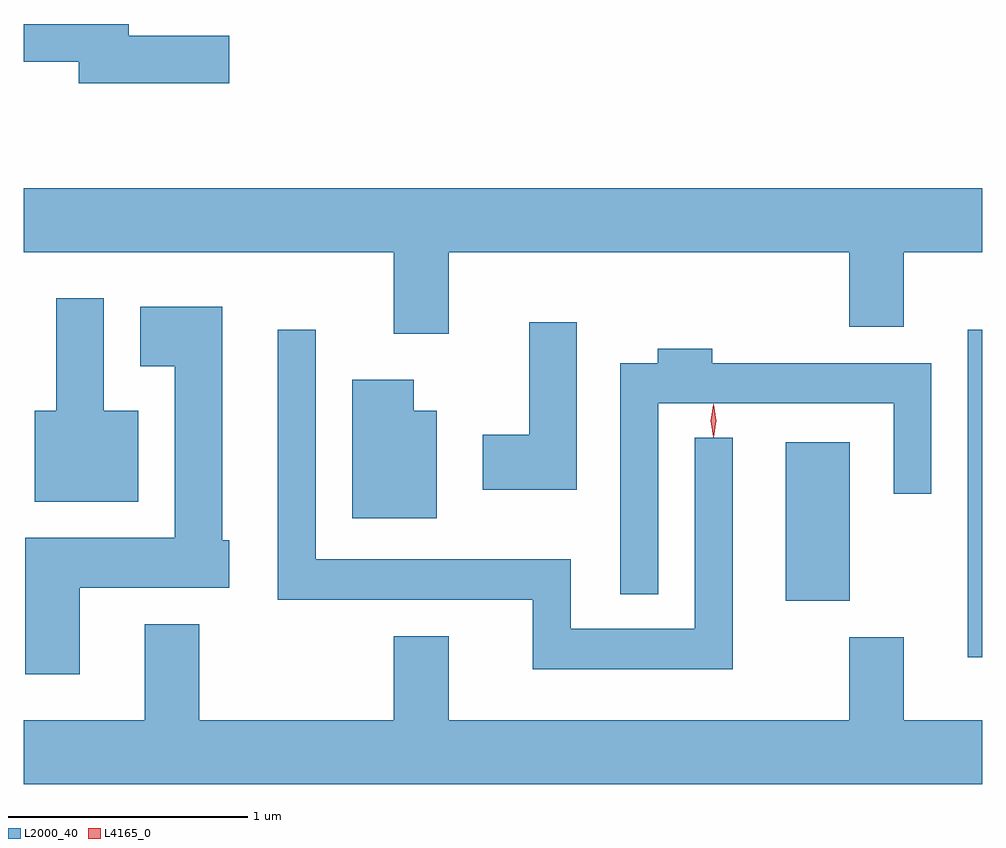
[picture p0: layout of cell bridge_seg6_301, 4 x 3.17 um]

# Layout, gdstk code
import gdstk
lib = gdstk.Library(unit=1e-6, precision=1e-09)
def R(c, l, rs):  # rectangles x0, y0, x1, y1
    for r in rs: c.add(gdstk.rectangle(r[:2], r[2:], *l))
def P(c, l, *ps):  # polygons
    for p in ps: c.add(gdstk.Polygon(p, *l))
L2000_40 = (2000, 40)
L4165_0 = (4165, 0)

bridge_seg6_301 = lib.new_cell('bridge_seg6_301')
R(bridge_seg6_301, L2000_40, [(1299.746,1532.806,1299.806,1534.173), (1298.986,1533.041,1299.254,1533.704)])
P(bridge_seg6_301, L2000_40, [(1296.664,1535.399),(1296.244,1535.399),(1296.244,1535.449),(1295.806,1535.449),(1295.806,1535.291),(1296.036,1535.291),(1296.036,1535.201),(1296.664,1535.201)],
  [(1297.579,1534.496),(1299.251,1534.496),(1299.251,1534.186),(1299.479,1534.186),(1299.479,1534.496),(1299.806,1534.496),(1299.806,1534.764),(1295.806,1534.764),(1295.806,1534.496),(1297.351,1534.496),(1297.351,1534.156),(1297.579,1534.156)],
  [(1296.284,1533.834),(1296.139,1533.834),(1296.139,1534.304),(1295.941,1534.304),(1295.941,1533.834),(1295.851,1533.834),(1295.851,1533.456),(1296.284,1533.456)],
  [(1296.039,1533.096),(1296.664,1533.096),(1296.664,1533.294),(1296.634,1533.294),(1296.634,1534.269),(1296.291,1534.269),(1296.291,1534.021),(1296.436,1534.021),(1296.436,1533.304),(1295.811,1533.304),(1295.811,1532.736),(1296.039,1532.736)],
  [(1298.114,1534.204),(1297.916,1534.204),(1297.916,1533.734),(1297.721,1533.734),(1297.721,1533.506),(1298.114,1533.506)],
  [(1298.764,1533.723),(1298.606,1533.723),(1298.606,1532.924),(1298.089,1532.924),(1298.089,1533.214),(1297.024,1533.214),(1297.024,1534.173),(1296.866,1534.173),(1296.866,1533.046),(1297.931,1533.046),(1297.931,1532.756),(1298.764,1532.756)],
  [(1298.454,1533.866),(1299.436,1533.866),(1299.436,1533.488),(1299.594,1533.488),(1299.594,1534.034),(1298.679,1534.034),(1298.679,1534.094),(1298.451,1534.094),(1298.451,1534.034),(1298.296,1534.034),(1298.296,1533.068),(1298.454,1533.068)],
  [(1297.529,1533.834),(1297.434,1533.834),(1297.434,1533.964),(1297.176,1533.964),(1297.176,1533.386),(1297.529,1533.386)],
  [(1299.806,1532.544),(1299.479,1532.544),(1299.479,1532.889),(1299.251,1532.889),(1299.251,1532.544),(1297.579,1532.544),(1297.579,1532.894),(1297.351,1532.894),(1297.351,1532.544),(1296.539,1532.544),(1296.539,1532.944),(1296.311,1532.944),(1296.311,1532.544),(1295.806,1532.544),(1295.806,1532.277),(1299.806,1532.277)])
P(bridge_seg6_301, L4165_0, [(1298.684,1533.724),(1298.675,1533.793),(1298.684,1533.863),(1298.685,1533.863),(1298.685,1533.863),(1298.695,1533.793),(1298.685,1533.724),(1298.685,1533.724)],
  [(1298.684,1533.727),(1298.684,1533.727),(1298.674,1533.794),(1298.684,1533.86),(1298.684,1533.861),(1298.685,1533.86),(1298.694,1533.794),(1298.685,1533.727)])

lib.write_gds('bridge_seg6_301.gds')
